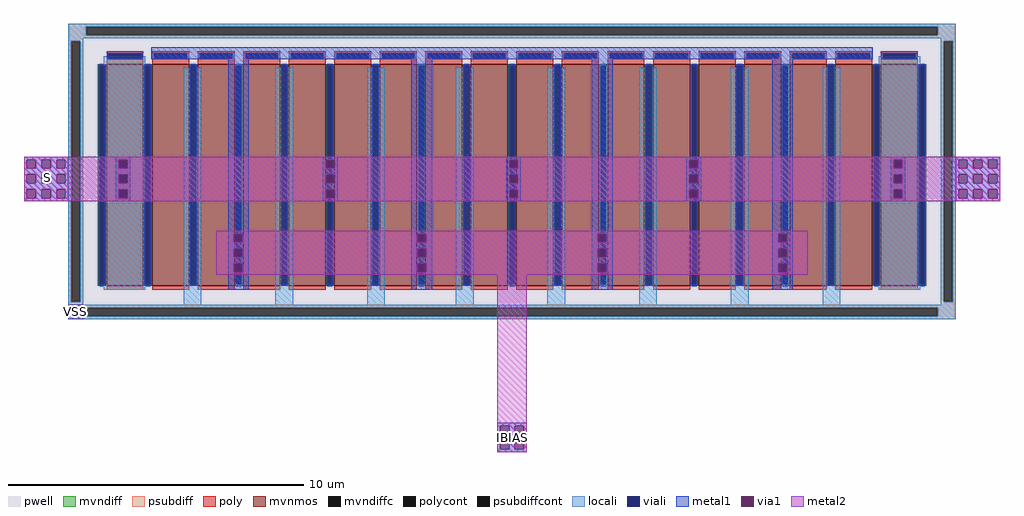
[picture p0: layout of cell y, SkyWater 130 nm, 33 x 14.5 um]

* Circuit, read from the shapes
.subckt y IBIAS S VSS
XM1 S S S VSS sky130_fd_pr__nfet_g5v0d10v5 w=7.5 l=1.25 m=2
XM2 VSS IBIAS S VSS sky130_fd_pr__nfet_g5v0d10v5 w=7.5 l=1.25 m=8
XM3 IBIAS IBIAS VSS VSS sky130_fd_pr__nfet_g5v0d10v5 w=7.5 l=1.25 m=8
.ends

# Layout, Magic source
magic
tech sky130A
magscale 1 2
<< pwell >>
rect 2100 -900 8100 1100
<< psubdiff >>
rect 2100 1080 8100 1100
rect 2100 1020 2220 1080
rect 7980 1020 8100 1080
rect 2100 1000 8100 1020
rect 2100 980 2200 1000
rect 2100 -780 2120 980
rect 2180 -780 2200 980
rect 2100 -800 2200 -780
rect 8000 980 8100 1000
rect 8000 -780 8020 980
rect 8080 -780 8100 980
rect 8000 -800 8100 -780
rect 2100 -820 8100 -800
rect 2100 -880 2220 -820
rect 7980 -880 8100 -820
rect 2100 -900 8100 -880
<< psubdiffcont >>
rect 2220 1020 7980 1080
rect 2120 -780 2180 980
rect 8020 -780 8080 980
rect 2220 -880 7980 -820
<< locali >>
rect 2100 1080 8100 1100
rect 2100 1020 2220 1080
rect 7980 1020 8100 1080
rect 2100 1000 8100 1020
rect 2100 980 2200 1000
rect 2100 -780 2120 980
rect 2180 -780 2200 980
rect 8000 980 8100 1000
rect 2340 180 2620 880
rect 2340 120 2440 180
rect 2500 120 2620 180
rect 2340 80 2620 120
rect 2340 20 2440 80
rect 2500 20 2620 80
rect 2340 -20 2620 20
rect 2340 -80 2440 -20
rect 2500 -80 2620 -20
rect 2340 -700 2620 -80
rect 2100 -800 2200 -780
rect 2880 -800 3000 800
rect 3500 -800 3620 800
rect 4120 -800 4240 800
rect 4720 -800 4840 800
rect 5340 -800 5460 800
rect 5960 -800 6080 800
rect 6580 -800 6700 800
rect 7200 -800 7320 800
rect 7580 180 7860 880
rect 7580 120 7680 180
rect 7740 120 7860 180
rect 7580 80 7860 120
rect 7580 20 7680 80
rect 7740 20 7860 80
rect 7580 -20 7860 20
rect 7580 -80 7680 -20
rect 7740 -80 7860 -20
rect 7580 -700 7860 -80
rect 8000 -780 8020 980
rect 8080 -780 8100 980
rect 8000 -800 8100 -780
rect 2100 -820 8100 -800
rect 2100 -880 2120 -820
rect 2180 -880 2220 -820
rect 7980 -880 8100 -820
rect 2100 -900 8100 -880
<< viali >>
rect 2440 120 2500 180
rect 2440 20 2500 80
rect 2440 -80 2500 -20
rect 7680 120 7740 180
rect 7680 20 7740 80
rect 7680 -80 7740 -20
rect 2120 -880 2180 -820
<< metal1 >>
rect 2660 860 7540 940
rect 1800 180 2100 200
rect 1800 120 1820 180
rect 1880 120 1920 180
rect 1980 120 2020 180
rect 2080 120 2100 180
rect 1800 80 2100 120
rect 1800 20 1820 80
rect 1880 20 1920 80
rect 1980 20 2020 80
rect 2080 20 2100 80
rect 1800 -20 2100 20
rect 1800 -80 1820 -20
rect 1880 -80 1920 -20
rect 1980 -80 2020 -20
rect 2080 -80 2100 -20
rect 1800 -100 2100 -80
rect 2420 180 2520 200
rect 2420 120 2440 180
rect 2500 120 2520 180
rect 2420 80 2520 120
rect 2420 20 2440 80
rect 2500 20 2520 80
rect 2420 -20 2520 20
rect 2420 -80 2440 -20
rect 2500 -80 2520 -20
rect 2420 -100 2520 -80
rect 3180 -320 3320 860
rect 3820 180 3920 200
rect 3820 120 3840 180
rect 3900 120 3920 180
rect 3820 80 3920 120
rect 3820 20 3840 80
rect 3900 20 3920 80
rect 3820 -20 3920 20
rect 3820 -80 3840 -20
rect 3900 -80 3920 -20
rect 3820 -100 3920 -80
rect 3180 -380 3220 -320
rect 3280 -380 3320 -320
rect 3180 -420 3320 -380
rect 3180 -480 3220 -420
rect 3280 -480 3320 -420
rect 3180 -520 3320 -480
rect 3180 -580 3220 -520
rect 3280 -580 3320 -520
rect 3180 -700 3320 -580
rect 4420 -320 4560 860
rect 5060 180 5160 200
rect 5060 120 5080 180
rect 5140 120 5160 180
rect 5060 80 5160 120
rect 5060 20 5080 80
rect 5140 20 5160 80
rect 5060 -20 5160 20
rect 5060 -80 5080 -20
rect 5140 -80 5160 -20
rect 5060 -100 5160 -80
rect 4420 -380 4460 -320
rect 4520 -380 4560 -320
rect 4420 -420 4560 -380
rect 4420 -480 4460 -420
rect 4520 -480 4560 -420
rect 4420 -520 4560 -480
rect 4420 -580 4460 -520
rect 4520 -580 4560 -520
rect 4420 -700 4560 -580
rect 5640 -320 5780 860
rect 6280 180 6380 200
rect 6280 120 6300 180
rect 6360 120 6380 180
rect 6280 80 6380 120
rect 6280 20 6300 80
rect 6360 20 6380 80
rect 6280 -20 6380 20
rect 6280 -80 6300 -20
rect 6360 -80 6380 -20
rect 6280 -100 6380 -80
rect 5640 -380 5680 -320
rect 5740 -380 5780 -320
rect 5640 -420 5780 -380
rect 5640 -480 5680 -420
rect 5740 -480 5780 -420
rect 5640 -520 5780 -480
rect 5640 -580 5680 -520
rect 5740 -580 5780 -520
rect 5640 -700 5780 -580
rect 6860 -320 7000 860
rect 7660 180 7760 200
rect 7660 120 7680 180
rect 7740 120 7760 180
rect 7660 80 7760 120
rect 7660 20 7680 80
rect 7740 20 7760 80
rect 7660 -20 7760 20
rect 7660 -80 7680 -20
rect 7740 -80 7760 -20
rect 7660 -100 7760 -80
rect 8100 180 8400 200
rect 8100 120 8120 180
rect 8180 120 8220 180
rect 8280 120 8320 180
rect 8380 120 8400 180
rect 8100 80 8400 120
rect 8100 20 8120 80
rect 8180 20 8220 80
rect 8280 20 8320 80
rect 8380 20 8400 80
rect 8100 -20 8400 20
rect 8100 -80 8120 -20
rect 8180 -80 8220 -20
rect 8280 -80 8320 -20
rect 8380 -80 8400 -20
rect 8100 -100 8400 -80
rect 6860 -380 6900 -320
rect 6960 -380 7000 -320
rect 6860 -420 7000 -380
rect 6860 -480 6900 -420
rect 6960 -480 7000 -420
rect 6860 -520 7000 -480
rect 6860 -580 6900 -520
rect 6960 -580 7000 -520
rect 6860 -700 7000 -580
rect 2100 -820 2200 -800
rect 2100 -880 2120 -820
rect 2180 -880 2200 -820
rect 2100 -900 2200 -880
rect 5000 -1620 5200 -1600
rect 5000 -1680 5020 -1620
rect 5080 -1680 5120 -1620
rect 5180 -1680 5200 -1620
rect 5000 -1720 5200 -1680
rect 5000 -1780 5020 -1720
rect 5080 -1780 5120 -1720
rect 5180 -1780 5200 -1720
rect 5000 -1800 5200 -1780
<< via1 >>
rect 1820 120 1880 180
rect 1920 120 1980 180
rect 2020 120 2080 180
rect 1820 20 1880 80
rect 1920 20 1980 80
rect 2020 20 2080 80
rect 1820 -80 1880 -20
rect 1920 -80 1980 -20
rect 2020 -80 2080 -20
rect 2440 120 2500 180
rect 2440 20 2500 80
rect 2440 -80 2500 -20
rect 3840 120 3900 180
rect 3840 20 3900 80
rect 3840 -80 3900 -20
rect 3220 -380 3280 -320
rect 3220 -480 3280 -420
rect 3220 -580 3280 -520
rect 5080 120 5140 180
rect 5080 20 5140 80
rect 5080 -80 5140 -20
rect 4460 -380 4520 -320
rect 4460 -480 4520 -420
rect 4460 -580 4520 -520
rect 6300 120 6360 180
rect 6300 20 6360 80
rect 6300 -80 6360 -20
rect 5680 -380 5740 -320
rect 5680 -480 5740 -420
rect 5680 -580 5740 -520
rect 7680 120 7740 180
rect 7680 20 7740 80
rect 7680 -80 7740 -20
rect 8120 120 8180 180
rect 8220 120 8280 180
rect 8320 120 8380 180
rect 8120 20 8180 80
rect 8220 20 8280 80
rect 8320 20 8380 80
rect 8120 -80 8180 -20
rect 8220 -80 8280 -20
rect 8320 -80 8380 -20
rect 6900 -380 6960 -320
rect 6900 -480 6960 -420
rect 6900 -580 6960 -520
rect 5020 -1680 5080 -1620
rect 5120 -1680 5180 -1620
rect 5020 -1780 5080 -1720
rect 5120 -1780 5180 -1720
<< metal2 >>
rect 1800 180 8400 200
rect 1800 120 1820 180
rect 1880 120 1920 180
rect 1980 120 2020 180
rect 2080 120 2440 180
rect 2500 120 3840 180
rect 3900 120 5080 180
rect 5140 120 6300 180
rect 6360 120 7680 180
rect 7740 120 8120 180
rect 8180 120 8220 180
rect 8280 120 8320 180
rect 8380 120 8400 180
rect 1800 80 8400 120
rect 1800 20 1820 80
rect 1880 20 1920 80
rect 1980 20 2020 80
rect 2080 20 2440 80
rect 2500 20 3840 80
rect 3900 20 5080 80
rect 5140 20 6300 80
rect 6360 20 7680 80
rect 7740 20 8120 80
rect 8180 20 8220 80
rect 8280 20 8320 80
rect 8380 20 8400 80
rect 1800 -20 8400 20
rect 1800 -80 1820 -20
rect 1880 -80 1920 -20
rect 1980 -80 2020 -20
rect 2080 -80 2440 -20
rect 2500 -80 3840 -20
rect 3900 -80 5080 -20
rect 5140 -80 6300 -20
rect 6360 -80 7680 -20
rect 7740 -80 8120 -20
rect 8180 -80 8220 -20
rect 8280 -80 8320 -20
rect 8380 -80 8400 -20
rect 1800 -100 8400 -80
rect 3100 -320 7100 -300
rect 3100 -380 3220 -320
rect 3280 -380 4460 -320
rect 4520 -380 5680 -320
rect 5740 -380 6900 -320
rect 6960 -380 7100 -320
rect 3100 -420 7100 -380
rect 3100 -480 3220 -420
rect 3280 -480 4460 -420
rect 4520 -480 5680 -420
rect 5740 -480 6900 -420
rect 6960 -480 7100 -420
rect 3100 -520 7100 -480
rect 3100 -580 3220 -520
rect 3280 -580 4460 -520
rect 4520 -580 5680 -520
rect 5740 -580 6900 -520
rect 6960 -580 7100 -520
rect 3100 -600 7100 -580
rect 5000 -1620 5200 -600
rect 5000 -1680 5020 -1620
rect 5080 -1680 5120 -1620
rect 5180 -1680 5200 -1620
rect 5000 -1720 5200 -1680
rect 5000 -1780 5020 -1720
rect 5080 -1780 5120 -1720
rect 5180 -1780 5200 -1720
rect 5000 -1800 5200 -1780
use sky130_fd_pr__nfet_g5v0d10v5_7GKDBD  XM6 /foss/designs/icdec-biomedical-pmic/xschem/error-amplifier/schematics/sub-blocks
transform 1 0 5101 0 1 107
box -2801 -807 2801 807
<< labels >>
flabel metal1 5000 -1800 5200 -1600 0 FreeSans 256 0 0 0 IBIAS
port 0 nsew
flabel metal1 2100 -900 2200 -800 0 FreeSans 256 0 0 0 VSS
port 2 nsew
flabel metal1 1860 -40 2060 160 0 FreeSans 256 0 0 0 S
port 1 nsew
<< end >>

# cell sky130_fd_pr__nfet_g5v0d10v5_7GKDBD: kit device sky130_fd_pr__nfet_g5v0d10v5, w 7.5 l 1.25 m 1 nf 18 diffcov 100 polycov 100 guard 0 glc 1 grc 1 gtc 1 gbc 1 tbcov 100 rlcov 100 topc 1 botc 0 poverlap 0 doverlap 1 lmin 0.50 wmin 0.42 class mosfet compatible {sky130_fd_pr__nfet_01v8 sky130_fd_pr__nfet_01v8_lvt sky130_fd_bs_flash__special_sonosfet_star sky130_fd_pr__nfet_g5v0d10v5 sky130_fd_pr__nfet_05v0_nvt sky130_fd_pr__nfet_03v3_nvt} full_metal 1 viasrc 100 viadrn 100 viagate 100 viagb 0 viagr 0 viagl 0 viagt 0
